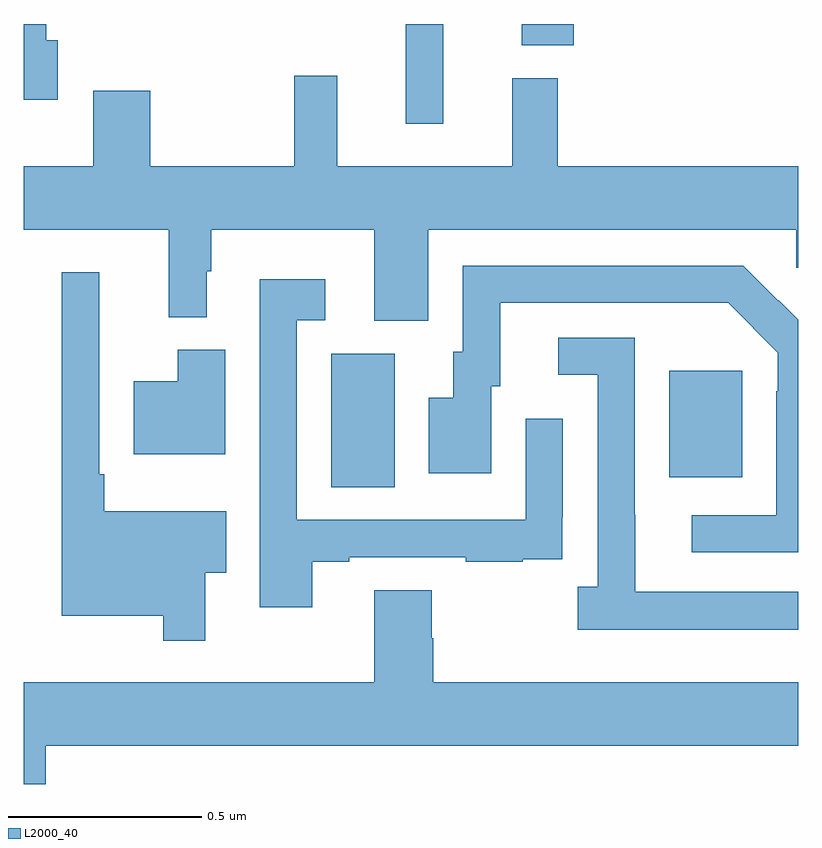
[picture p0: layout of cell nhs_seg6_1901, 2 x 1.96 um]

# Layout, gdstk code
import gdstk
lib = gdstk.Library(unit=1e-6, precision=1e-09)
def R(c, l, rs):  # rectangles x0, y0, x1, y1
    for r in rs: c.add(gdstk.rectangle(r[:2], r[2:], *l))
def P(c, l, *ps):  # polygons
    for p in ps: c.add(gdstk.Polygon(p, *l))
L2000_40 = (2000, 40)

nhs_seg6_1901 = lib.new_cell('nhs_seg6_1901')
R(nhs_seg6_1901, L2000_40, [(135.794,981.304,135.958,981.648), (136.667,981.329,136.855,981.604), (135.986,982.242,136.083,982.5), (136.286,982.445,136.421,982.5)])
P(nhs_seg6_1901, L2000_40, [(135.088,982.458),(135.058,982.458),(135.058,982.5),(135,982.5),(135,982.304),(135.088,982.304)],
  [(136.045,981.968),(136.995,981.968),(136.995,981.87),(137,981.87),(137,982.132),(136.379,982.132),(136.379,982.36),(136.262,982.36),(136.262,982.132),(135.809,982.132),(135.809,982.366),(135.699,982.366),(135.699,982.132),(135.327,982.132),(135.327,982.327),(135.179,982.327),(135.179,982.132),(135,982.132),(135,981.968),(135.374,981.968),(135.374,981.743),(135.472,981.743),(135.472,981.861),(135.484,981.861),(135.484,981.968),(135.905,981.968),(135.905,981.733),(136.045,981.733)],
  [(137,981.736),(136.95,981.786),(136.949,981.785),(136.858,981.876),(136.134,981.876),(136.134,981.654),(136.109,981.654),(136.109,981.535),(136.046,981.535),(136.046,981.339),(136.207,981.339),(136.207,981.564),(136.231,981.564),(136.231,981.78),(136.819,981.78),(136.947,981.651),(136.947,981.551),(136.944,981.551),(136.944,981.231),(136.725,981.231),(136.725,981.135),(137,981.135)],
  [(135.469,981.083),(135.523,981.083),(135.523,981.241),(135.208,981.241),(135.208,981.337),(135.195,981.337),(135.195,981.859),(135.098,981.859),(135.098,980.972),(135.36,980.972),(135.36,980.907),(135.469,980.907)],
  [(135.745,981.111),(135.841,981.111),(135.841,981.123),(136.141,981.123),(136.141,981.111),(136.289,981.111),(136.289,981.117),(136.391,981.117),(136.391,981.226),(136.392,981.226),(136.392,981.481),(136.296,981.481),(136.296,981.219),(135.705,981.219),(135.705,981.735),(135.778,981.735),(135.778,981.841),(135.609,981.841),(135.609,980.994),(135.745,980.994)],
  [(137,981.033),(136.579,981.033),(136.579,981.233),(136.578,981.233),(136.578,981.69),(136.38,981.69),(136.38,981.594),(136.482,981.594),(136.482,981.046),(136.431,981.046),(136.431,980.936),(137,980.936)],
  [(135.52,981.658),(135.398,981.658),(135.398,981.577),(135.284,981.577),(135.284,981.389),(135.52,981.389)],
  [(135.056,980.636),(137,980.636),(137,980.8),(136.058,980.8),(136.058,980.913),(136.053,980.913),(136.053,981.038),(135.905,981.038),(135.905,980.8),(135,980.8),(135,980.537),(135.056,980.537)])

lib.write_gds('nhs_seg6_1901.gds')
